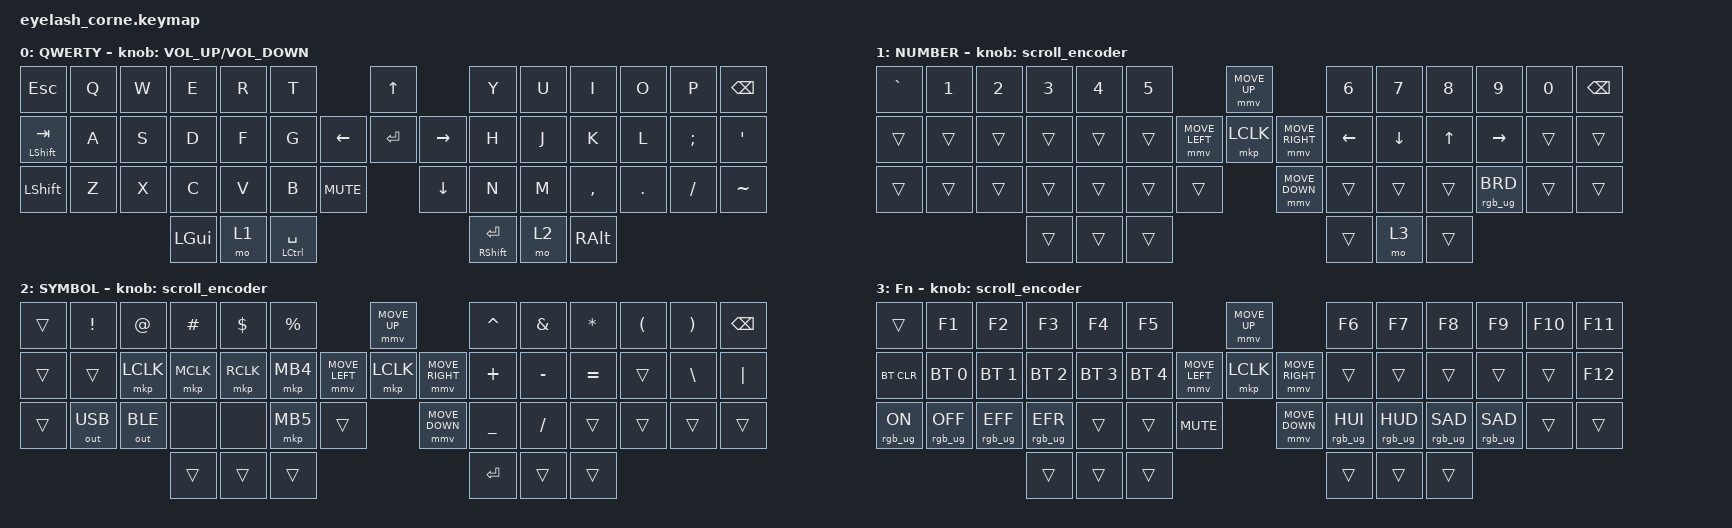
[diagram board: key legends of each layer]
#define ZMK_POINTING_DEFAULT_MOVE_VAL 1200  // 600
#define ZMK_POINTING_DEFAULT_SCRL_VAL 25   // 10

#include <input/processors.dtsi>
#include <zephyr/dt-bindings/input/input-event-codes.h>
#include <behaviors.dtsi>
#include <dt-bindings/zmk/bt.h>
#include <dt-bindings/zmk/keys.h>
#include <dt-bindings/zmk/outputs.h>
#include <dt-bindings/zmk/pointing.h>
#include <dt-bindings/zmk/rgb.h>

&mmv_input_listener { input-processors = <&zip_xy_scaler 2 1>; };

&msc_input_listener { input-processors = <&zip_scroll_scaler 2 1>; };

&msc {
    acceleration-exponent = <1>;      // 0
    time-to-max-speed-ms = <100>;       // 300
    delay-ms = <0>;                   // 0
};

&mmv {
    time-to-max-speed-ms = <500>;
    acceleration-exponent = <1>;
    trigger-period-ms = <16>;
};

/ {
    behaviors {
        td0: td0 {
            compatible = "zmk,behavior-tap-dance";
            display-name = "Shift/Caps Lock Tap Dance";
            #binding-cells = <0>;
            bindings = <&kp LEFT_SHIFT>, <&kp CAPS>;
        };
    };

    rgb_encoder: rgb_encoder {
        compatible = "zmk,behavior-sensor-rotate";
        #sensor-binding-cells = <0>;
        bindings = <&rgb_ug RGB_BRI>, <&rgb_ug RGB_BRD>;
    };

    scroll_encoder: scroll_encoder {
        compatible = "zmk,behavior-sensor-rotate";
        #sensor-binding-cells = <0>;
        bindings = <&msc SCRL_DOWN>, <&msc SCRL_UP>;

        tap-ms = <100>;
    };

    combos {
        compatible = "zmk,combos";

        left_sqt_bracket {
            bindings = <&kp LEFT_BRACKET>;
            key-positions = <3 4>;
        };

        right_sqt_bracket {
            bindings = <&kp RIGHT_BRACKET>;
            key-positions = <4 5>;
        };

        left_p {
            bindings = <&kp LEFT_PARENTHESIS>;
            key-positions = <7 8>;
        };

        right_parenthesis {
            bindings = <&kp RIGHT_PARENTHESIS>;
            key-positions = <8 9>;
        };

        left_bracket {
            bindings = <&kp LEFT_BRACE>;
            key-positions = <22 23>;
        };

        right_bracket {
            bindings = <&kp RIGHT_BRACE>;
            key-positions = <23 24>;
        };

        l_ctrl {
            bindings = <&kp RCTRL>;
            key-positions = <17 18>;
        };
    };

    keymap {
        compatible = "zmk,keymap";

        default_layer {
            display-name = "QWERTY";
            bindings = <
&kp ESCAPE          &kp Q  &kp W  &kp E     &kp R  &kp T                                    &kp UP                &kp Y                  &kp U  &kp I      &kp O    &kp P     &kp BSPC
&mt LEFT_SHIFT TAB  &kp A  &kp S  &kp D     &kp F  &kp G                          &kp LEFT  &kp ENTER  &kp RIGHT  &kp H                  &kp J  &kp K      &kp L    &kp SEMI  &kp SQT
&kp LEFT_SHIFT      &kp Z  &kp X  &kp C     &kp V  &kp B            &kp C_MUTE              &kp DOWN              &kp N                  &kp M  &kp COMMA  &kp DOT  &kp FSLH  &kp TILDE
                                  &kp LGUI  &mo 1  &mt LCTRL SPACE                                                &mt RIGHT_SHIFT ENTER  &mo 2  &kp RALT
            >;

            sensor-bindings = <&inc_dec_kp C_VOLUME_UP C_VOLUME_DOWN>;
        };

        lower_layer {
            display-name = "NUMBER";
            bindings = <
&kp GRAVE  &kp N1  &kp N2  &kp N3  &kp N4  &kp N5                            &mmv MOVE_UP                     &kp N6    &kp N7    &kp N8  &kp N9           &kp N0  &kp BSPC
&trans     &trans  &trans  &trans  &trans  &trans            &mmv MOVE_LEFT  &mkp LCLK       &mmv MOVE_RIGHT  &kp LEFT  &kp DOWN  &kp UP  &kp RIGHT        &trans  &trans
&trans     &trans  &trans  &trans  &trans  &trans  &trans                    &mmv MOVE_DOWN                   &trans    &trans    &trans  &rgb_ug RGB_BRD  &trans  &trans
                           &trans  &trans  &trans                                                             &trans    &mo 3     &trans
            >;

            sensor-bindings = <&scroll_encoder>;
        };

        raise_layer {
            display-name = "SYMBOL";
            bindings = <
&trans  &kp EXCL      &kp AT        &kp HASH   &kp DLLR   &kp PRCNT                            &mmv MOVE_UP                     &kp CARET  &kp AMPS   &kp ASTRK  &kp LPAR  &kp RPAR  &kp BSPC
&trans  &trans        &mkp LCLK     &mkp MCLK  &mkp RCLK  &mkp MB4             &mmv MOVE_LEFT  &mkp LCLK       &mmv MOVE_RIGHT  &kp PLUS   &kp MINUS  &kp EQUAL  &trans    &kp BSLH  &kp PIPE
&trans  &out OUT_USB  &out OUT_BLE  &none      &none      &mkp MB5   &trans                    &mmv MOVE_DOWN                   &kp UNDER  &kp SLASH  &trans     &trans    &trans    &trans
                                    &trans     &trans     &trans                                                                &kp RET    &trans     &trans
            >;

            sensor-bindings = <&scroll_encoder>;
        };

        layer_3 {
            display-name = "Fn";
            bindings = <
&trans          &kp F1           &kp F2           &kp F3           &kp F4        &kp F5                                      &mmv MOVE_UP                     &kp F6           &kp F7           &kp F8           &kp F9           &kp F10  &kp F11
&bt BT_CLR      &bt BT_SEL 0     &bt BT_SEL 1     &bt BT_SEL 2     &bt BT_SEL 3  &bt BT_SEL 4                &mmv MOVE_LEFT  &mkp LCLK       &mmv MOVE_RIGHT  &trans           &trans           &trans           &trans           &trans   &kp F12
&rgb_ug RGB_ON  &rgb_ug RGB_OFF  &rgb_ug RGB_EFF  &rgb_ug RGB_EFR  &trans        &trans        &kp C_MUTE                    &mmv MOVE_DOWN                   &rgb_ug RGB_HUI  &rgb_ug RGB_HUD  &rgb_ug RGB_SAD  &rgb_ug RGB_SAD  &trans   &trans
                                                  &trans           &trans        &trans                                                                       &trans           &trans           &trans
            >;

            sensor-bindings = <&scroll_encoder>;
        };
    };
};
